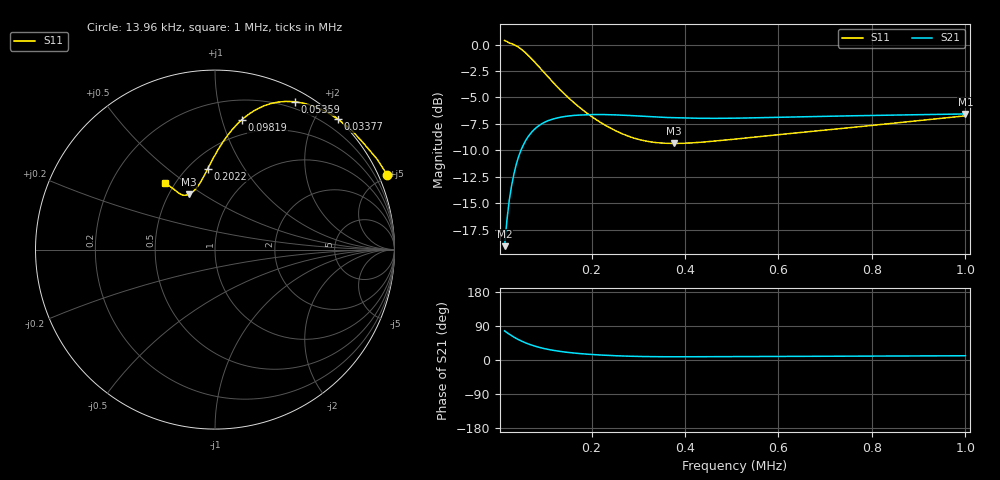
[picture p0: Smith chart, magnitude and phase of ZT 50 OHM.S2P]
!Agilent Technologies,E5071C,MY46109397,A.09.54
!Date: Mon Jan 01 01:58:41 2001
!Data & Calibration Information:
!Freq	S11:SOLT1(ON)	S21:RESPT(ON)	S12:NONE(--)	S22:NONE(--)
# Hz S RI R 50
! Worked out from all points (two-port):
!   200 points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, 13.96 kHz to 1 MHz, reference 50 ohm
!   highest |S21| = -6.56 dB at 1 MHz (marker M1); lowest = -19.1 dB at 13.96 kHz (marker M2)
!   |S21| within 3 dB of the highest: 53.35 kHz to end of sweep
!   lowest |S11| = -9.4 dB at 375.7 kHz (marker M3), VSWR 2.03, Z = 31.5 + j22 ohm
!   |S11| at or under -10 dB: nowhere
!   S12 and S22 are empty: the file has one direction only
!   S11 on the Smith chart (normalised r, x): 13.96 kHz: -0.54, +4.78; 33.77 kHz: 0.00, +2.32; 53.59 kHz: 0.13, +1.67; 98.19 kHz: 0.36, +1.16; 202.2 kHz: 0.62, +0.70; 1 MHz: 0.45, +0.42
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13955  0.9604 0.4148  0.0252 0.1085  0 0  0 0
18910  0.9041 0.5028  0.0452 0.1409  0 0  0 0
23865  0.8258 0.5949  0.068 0.1704  0 0  0 0
28820  0.7562 0.6705  0.0936 0.1933  0 0  0 0
33775  0.686 0.726  0.1203 0.2118  0 0  0 0
43685  0.556 0.7975  0.1741 0.2374  0 0  0 0
53595  0.4436 0.8239  0.2233 0.2478  0 0  0 0
63505  0.3512 0.8219  0.2674 0.2484  0 0  0 0
73415  0.2772 0.8026  0.3039 0.2429  0 0  0 0
83325  0.2178 0.7737  0.3341 0.2332  0 0  0 0
98190  0.1496 0.7234  0.3695 0.2156  0 0  0 0
113055  0.0993 0.6722  0.3949 0.1972  0 0  0 0
132875  0.0508 0.6093  0.4182 0.1744  0 0  0 0
182425  -0.0212 0.4879  0.4469 0.1295  0 0  0 0
202245  -0.0397 0.4517  0.452 0.1161  0 0  0 0
276570  -0.0912 0.359  0.4554 0.0815  0 0  0 0
345940  -0.1301 0.3172  0.4486 0.0684  0 0  0 0
375670  -0.144 0.3089  0.4459 0.0669  0 0  0 0
509455  -0.1859 0.3057  0.4432 0.0713  0 0  0 0
672970  -0.2144 0.3245  0.4499 0.0788  0 0  0 0
836485  -0.2425 0.3461  0.456 0.0846  0 0  0 0
1000000  -0.2759 0.3686  0.4609 0.0913  0 0  0 0
